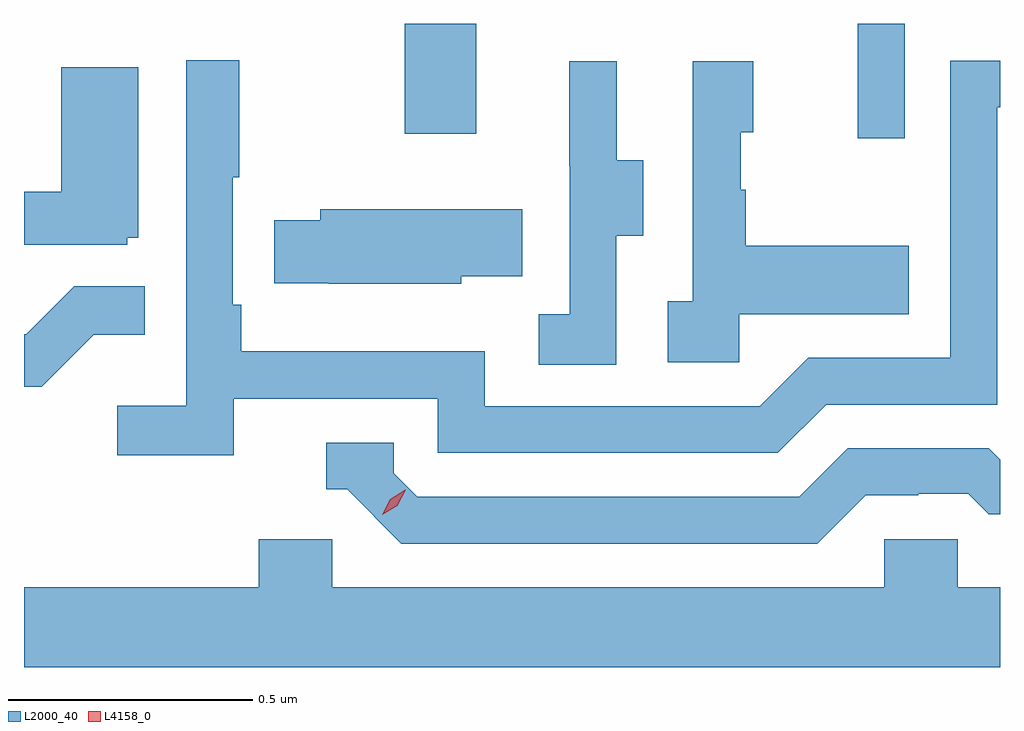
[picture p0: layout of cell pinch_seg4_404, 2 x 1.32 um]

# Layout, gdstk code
import gdstk
lib = gdstk.Library(unit=1e-6, precision=1e-09)
def R(c, l, rs):  # rectangles x0, y0, x1, y1
    for r in rs: c.add(gdstk.rectangle(r[:2], r[2:], *l))
def P(c, l, *ps):  # polygons
    for p in ps: c.add(gdstk.Polygon(p, *l))
L2000_40 = (2000, 40)
L4158_0 = (4158, 0)

pinch_seg4_404 = lib.new_cell('pinch_seg4_404')
R(pinch_seg4_404, L2000_40, [(958.85,779.256,958.947,779.49), (957.922,779.265,958.069,779.49)])
P(pinch_seg4_404, L2000_40, [(957.572,778.722),(957.99,778.722),(957.99,778.611),(958.687,778.611),(958.786,778.71),(959.136,778.71),(959.136,779.319),(959.142,779.319),(959.142,779.415),(959.04,779.415),(959.04,778.806),(958.749,778.806),(958.65,778.707),(958.086,778.707),(958.086,778.819),(957.587,778.819),(957.587,778.915),(957.57,778.915),(957.57,779.176),(957.583,779.176),(957.583,779.416),(957.474,779.416),(957.474,778.708),(957.333,778.708),(957.333,778.606),(957.572,778.606)],
  [(958.356,779.056),(958.411,779.056),(958.411,779.211),(958.357,779.211),(958.357,779.413),(958.259,779.413),(958.259,779.199),(958.26,779.199),(958.26,778.895),(958.197,778.895),(958.197,778.792),(958.356,778.792)],
  [(958.608,778.895),(958.955,778.895),(958.955,779.035),(958.621,779.035),(958.621,779.15),(958.611,779.15),(958.611,779.268),(958.636,779.268),(958.636,779.413),(958.512,779.413),(958.512,778.922),(958.461,778.922),(958.461,778.797),(958.608,778.797)],
  [(957.354,779.052),(957.376,779.052),(957.376,779.401),(957.218,779.401),(957.218,779.146),(957.142,779.146),(957.142,779.037),(957.354,779.037)],
  [(958.038,778.973),(958.163,778.973),(958.163,779.11),(957.749,779.11),(957.749,779.088),(957.655,779.088),(957.655,778.959),(957.766,778.959),(957.766,778.958),(958.038,778.958)],
  [(957.285,778.853),(957.389,778.853),(957.389,778.952),(957.245,778.952),(957.147,778.854),(957.142,778.854),(957.142,778.746),(957.178,778.746)],
  [(958.867,778.524),(958.974,778.524),(958.974,778.527),(959.077,778.527),(959.119,778.485),(959.142,778.485),(959.142,778.597),(959.119,778.62),(958.83,778.62),(958.731,778.521),(957.948,778.521),(957.9,778.569),(957.9,778.632),(957.761,778.632),(957.761,778.536),(957.804,778.536),(957.915,778.425),(958.768,778.425)],
  [(959.142,778.336),(959.055,778.336),(959.055,778.434),(958.905,778.434),(958.905,778.336),(957.774,778.336),(957.774,778.434),(957.623,778.434),(957.623,778.336),(957.142,778.336),(957.142,778.172),(959.142,778.172)])
P(pinch_seg4_404, L4158_0, [(957.876,778.484),(957.876,778.484),(957.892,778.516),(957.923,778.535),(957.924,778.535),(957.924,778.535),(957.907,778.503),(957.876,778.484)])

lib.write_gds('pinch_seg4_404.gds')
